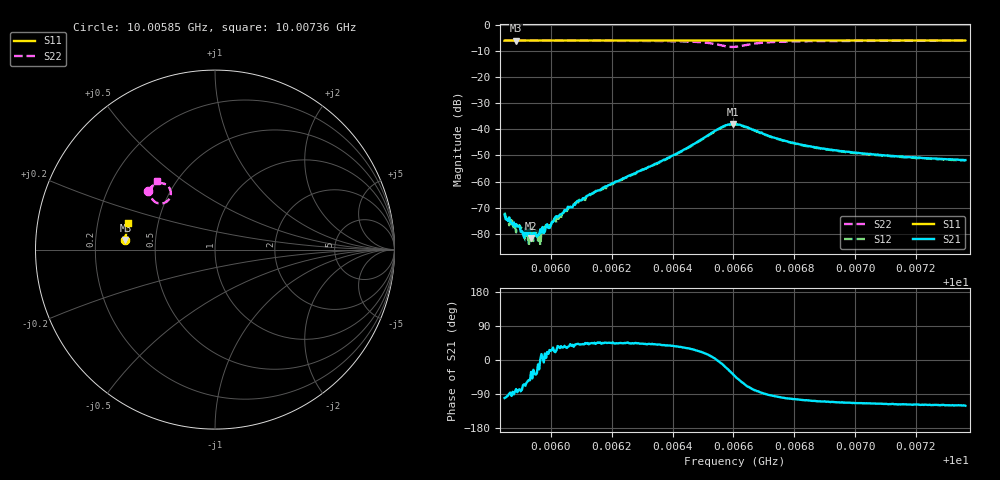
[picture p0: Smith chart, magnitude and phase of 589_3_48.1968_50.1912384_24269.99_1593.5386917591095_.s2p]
#  HZ  S  RI  R  50.00
! Rohde & Schwarz Vector Network Analyzer
! Rohde-Schwarz,ZNB20-2Port,1311601062101988,3.16
! Created: UTC 3/20/2024, 12:02:32 PM
! freq[Hz]  re:S11  im:S11  re:S21  im:S21  re:S12  im:S12  re:S22  im:S22
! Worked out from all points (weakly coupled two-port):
!   401 points, 10.00585 GHz to 10.00736 GHz, reference 50 ohm
!   highest |S21| = -37.91 dB at 10.0066 GHz (marker M1); lowest = -81.6 dB at 10.00594 GHz (marker M2)
!   lowest |S11| = -6.0 dB at 10.00589 GHz (marker M3), VSWR 3.02, Z = 16.6 + j2.38 ohm
!   |S11| at or under -10 dB: nowhere
!   |S22| runs from -8.4 to -6.0 dB; largest |S21 - S12| = 0.00088
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1.0005848e10  -0.4996 0.0512  -4.1e-05 -0.000227  -2.58e-05 -0.000253  -0.3756 0.3268
1.0005859e10  -0.4994 0.0519  -1.04e-05 -0.000174  -6.57e-06 -0.000186  -0.3751 0.3275
1.0005886e10  -0.4992 0.0536  3.55e-05 -0.000149  3.67e-05 -9.92e-05  -0.3736 0.3291
1.0005905e10  -0.4993 0.0548  2.23e-05 -0.000111  5.27e-05 -0.000115  -0.3727 0.3303
1.000592e10  -0.499 0.0559  5.22e-05 -9.07e-05  1.44e-05 -7.53e-05  -0.3719 0.3312
1.0005935e10  -0.4991 0.057  7.11e-05 -4.33e-05  5.09e-05 -5.09e-05  -0.371 0.3322
1.0005954e10  -0.4988 0.0581  7.14e-05 -5.07e-05  0.000113 -1.81e-05  -0.3699 0.3334
1.0005969e10  -0.4988 0.0592  0.000101 2.82e-05  0.000109 1.22e-05  -0.3691 0.3343
1.0005977e10  -0.499 0.0597  0.000102 -1.15e-05  9.86e-05 -4.78e-06  -0.3687 0.3348
1.0006026e10  -0.4985 0.0628  0.000178 0.000124  0.000147 0.000126  -0.3658 0.3382
1.0006052e10  -0.4984 0.0645  0.000246 0.000152  0.000205 0.000177  -0.3643 0.3399
1.0006102e10  -0.498 0.0678  0.000329 0.000289  0.000285 0.000313  -0.3609 0.3432
1.0006151e10  -0.4975 0.071  0.000469 0.000464  0.000434 0.000465  -0.3572 0.3468
1.0006355e10  -0.4958 0.0843  0.00176 0.00155  0.00163 0.00158  -0.3337 0.3637
1.0006511e10  -0.4938 0.0943  0.00702 0.00204  0.00672 0.00236  -0.2765 0.3641
1.0006567e10  -0.4928 0.0977  0.0111 -0.00275  0.011 -0.00197  -0.2458 0.3136
1.0006598e10  -0.4924 0.0991  0.0102 -0.00756  0.0103 -0.00688  -0.2647 0.271
1.0006605e10  -0.4925 0.0994  0.00925 -0.00851  0.00952 -0.00788  -0.2746 0.2639
1.0006688e10  -0.4924 0.1045  0.000685 -0.00861  0.00114 -0.00841  -0.3526 0.2858
1.0006859e10  -0.4906 0.1156  -0.00142 -0.00439  -0.00119 -0.00437  -0.3553 0.3382
1.0007112e10  -0.487 0.132  -0.00138 -0.0028  -0.00126 -0.00282  -0.3397 0.3647
1.0007362e10  -0.4832 0.1475  -0.00132 -0.00221  -0.00115 -0.00226  -0.3256 0.3805
